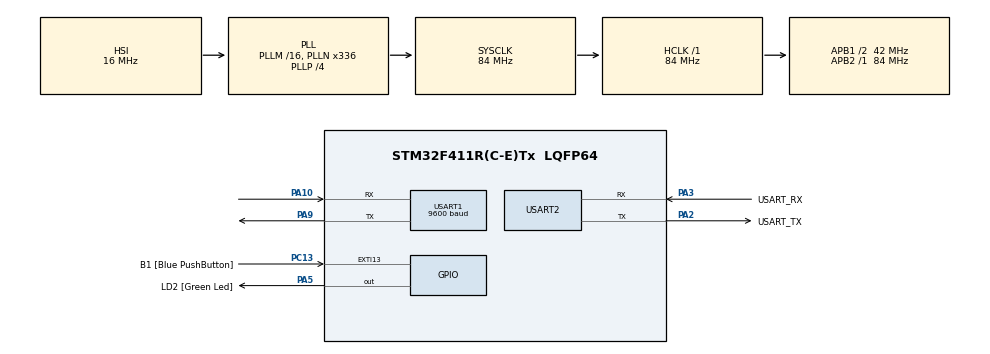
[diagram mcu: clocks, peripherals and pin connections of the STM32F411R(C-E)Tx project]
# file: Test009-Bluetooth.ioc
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Dma.Request0=USART1_RX
Dma.Request1=USART2_TX
Dma.USART1_RX.0.Direction=DMA_PERIPH_TO_MEMORY
Dma.USART1_RX.0.FIFOMode=DMA_FIFOMODE_DISABLE
Dma.USART1_RX.0.Instance=DMA2_Stream2
Dma.USART1_RX.0.MemDataAlignment=DMA_MDATAALIGN_BYTE
Dma.USART1_RX.0.MemInc=DMA_MINC_ENABLE
Dma.USART1_RX.0.Mode=DMA_CIRCULAR
Dma.USART1_RX.0.PeriphDataAlignment=DMA_PDATAALIGN_BYTE
Dma.USART1_RX.0.PeriphInc=DMA_PINC_DISABLE
Dma.USART1_RX.0.Priority=DMA_PRIORITY_LOW
Dma.USART2_TX.1.Direction=DMA_MEMORY_TO_PERIPH
Dma.USART2_TX.1.FIFOMode=DMA_FIFOMODE_DISABLE
Dma.USART2_TX.1.Instance=DMA1_Stream6
Dma.USART2_TX.1.MemDataAlignment=DMA_MDATAALIGN_BYTE
Dma.USART2_TX.1.MemInc=DMA_MINC_ENABLE
Dma.USART2_TX.1.Mode=DMA_CIRCULAR
Dma.USART2_TX.1.PeriphDataAlignment=DMA_PDATAALIGN_BYTE
Dma.USART2_TX.1.PeriphInc=DMA_PINC_DISABLE
Dma.USART2_TX.1.Priority=DMA_PRIORITY_LOW
Mcu.Family=STM32F4
Mcu.Name=STM32F411R(C-E)Tx
Mcu.Package=LQFP64
NVIC.DMA1_Stream6_IRQn=true\:0\:0\:false\:false\:true\:false\:true\:true
NVIC.DMA2_Stream2_IRQn=true\:0\:0\:false\:false\:true\:false\:true\:true
NVIC.PriorityGroup=NVIC_PRIORITYGROUP_0
NVIC.USART1_IRQn=true\:0\:0\:false\:false\:true\:true\:true\:true
NVIC.USART2_IRQn=true\:0\:0\:false\:false\:true\:true\:true\:true
PA10.Mode=Asynchronous
PA10.Signal=USART1_RX
PA13.GPIO_Label=TMS
PA13.Mode=Serial_Wire
PA13.Signal=SYS_JTMS-SWDIO
PA14.GPIO_Label=TCK
PA14.Mode=Serial_Wire
PA14.Signal=SYS_JTCK-SWCLK
PA2.GPIO_Label=USART_TX
PA2.Mode=Asynchronous
PA2.Signal=USART2_TX
PA3.GPIO_Label=USART_RX
PA3.Mode=Asynchronous
PA3.Signal=USART2_RX
PA5.GPIO_Label=LD2 [Green Led]
PA5.Signal=GPIO_Output
PA9.Mode=Asynchronous
PA9.Signal=USART1_TX
PB3.GPIO_Label=SWO
PB3.Signal=SYS_JTDO-SWO
PC13-ANTI_TAMP.GPIO_Label=B1 [Blue PushButton]
PC13-ANTI_TAMP.GPIO_ModeDefaultEXTI=GPIO_MODE_IT_FALLING
PC13-ANTI_TAMP.Signal=GPXTI13
PC14-OSC32_IN.Mode=LSE-External-Oscillator
PC14-OSC32_IN.Signal=RCC_OSC32_IN
PC15-OSC32_OUT.Mode=LSE-External-Oscillator
PC15-OSC32_OUT.Signal=RCC_OSC32_OUT
PH0\ -\ OSC_IN.Mode=HSE-External-Clock-Source
PH0\ -\ OSC_IN.Signal=RCC_OSC_IN
PH1\ -\ OSC_OUT.Mode=HSE-External-Clock-Source
PH1\ -\ OSC_OUT.Signal=RCC_OSC_OUT
ProjectManager.HeapSize=0x200
ProjectManager.StackSize=0x400
ProjectManager.TargetToolchain=STM32CubeIDE
RCC.48MHZClocksFreq_Value=84000000
RCC.AHBFreq_Value=84000000
RCC.APB1CLKDivider=RCC_HCLK_DIV2
RCC.APB1Freq_Value=42000000
RCC.APB1TimFreq_Value=84000000
RCC.APB2Freq_Value=84000000
RCC.APB2TimFreq_Value=84000000
RCC.CortexFreq_Value=84000000
RCC.FLatency-AdvancedSettings=FLASH_LATENCY_2
RCC.HCLKFreq_Value=84000000
RCC.HSE_VALUE=8000000
RCC.HSI_VALUE=16000000
RCC.PLLN=336
RCC.PLLP=RCC_PLLP_DIV4
RCC.SYSCLKFreq_VALUE=84000000
RCC.SYSCLKSource=RCC_SYSCLKSOURCE_PLLCLK
RCC.VCOOutputFreq_Value=336000000
USART1.BaudRate=9600
USART1.VirtualMode=VM_ASYNC
USART2.VirtualMode=VM_ASYNC
board=NUCLEO-F411RE

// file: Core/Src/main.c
/* USER CODE BEGIN Header */
/**
  ******************************************************************************
  * @file           : main.c
  * @brief          : Main program body
  ******************************************************************************
  * @attention
  *
  * Copyright (c) 2025 STMicroelectronics.
  * All rights reserved.
  *
  * This software is licensed under terms that can be found in the LICENSE file
  * in the root directory of this software component.
  * If no LICENSE file comes with this software, it is provided AS-IS.
  *
  ******************************************************************************
  */
/* USER CODE END Header */
#include "main.h"

UART_HandleTypeDef huart1;
UART_HandleTypeDef huart2;
DMA_HandleTypeDef hdma_usart1_rx;
DMA_HandleTypeDef hdma_usart2_tx;

void SystemClock_Config(void);
static void MX_GPIO_Init(void);
static void MX_DMA_Init(void);
static void MX_USART2_UART_Init(void);
static void MX_USART1_UART_Init(void);
/* USER CODE BEGIN PFP */
#define BUF_SIZE 100
/* USER CODE END PFP */

/* USER CODE BEGIN 0 */
unsigned char buf1[BUF_SIZE], buf2[BUF_SIZE]; // DMA buffer for UART1, UART2
unsigned char dum1, dum2;
int h1=0,h2=0,t1=0,t2=0;

void HAL_UART_RxCpltCallback(UART_HandleTypeDef *huart)
{
	if(huart == &huart1) // from BT
	{
		buf1[t1++] = dum1;
		HAL_UART_Transmit(&huart2, &dum1, 1, 10);
		if(dum1 =='\r')
		{
			CheckCMD(buf1);
			t1 = 0;
		}
		HAL_UART_Receive_IT(&huart1, &dum1, 1);
	}
	else if(huart == &huart2)
	{
		buf2[t2++] = dum2;
		HAL_UART_Transmit(&huart2, &dum2, 1, 10); //Terminal Echo
		if(dum2 == '\r') //
		{
			HAL_UART_Transmit(&huart2, "\n", 1, 10); //Terminal Echo
			buf2[t2++] = '\n';
			HAL_UART_Transmit(&huart1, buf2, t2, 10);
			t2 = 0;
		}
		HAL_UART_Receive_IT(&huart2, &dum2, 1);
	}

}

void TrimEX(char *dest, char *s) // s = "_____xxx______\t__\r\n" ===> "xxx"
{
	int h = 0;
	int	t = strlen(s) - 1;
	while(1)
	{
		if(*(s+t) == ' ' || *(s+h) == '\t' || *(s+h) == '\r'|| *(s+h) == '\n')
		{
			h++;
		}
		else
		{
			break;
		}
	}
	while(1)
	{
		if(*(s+t) == ' ' || *(s+t) == '\t' || *(s+t) == '\r'|| *(s+t) == '\n')
		{
			t--;
		}
		else
		{
			break;
		}
	}
	strncpy(dest,s+h,t-h+1);
}

char* Trim(char *s) // s = "_____xxx______\t__\r\n" ===> "xxx"
{
	int h = 0;
	int	t = strlen(s) - 1;
	while(1)
	{
		if(*(s+t) == ' ' || *(s+h) == '\t' || *(s+h) == '\r'|| *(s+h) == '\n')
		{
			h++;
		}
		else
		{
			break;
		}
	}
	while(1)
	{
		if(*(s+t) == ' ' || *(s+t) == '\t' || *(s+t) == '\r'|| *(s+t) == '\n')
		{
			t--;
		}
		else
		{
			break;
		}
	}
	char *dest = (char *)malloc(t-h+1)
	strncpy(dest,s+h,t-h+1);
	return dest;
}

void small2capital(char * str)
{
	int t=0;
	for (t=0; t <= strlen(str); t++)
	{
		if (str[t] >= 'a' && str[t] <= 'z')
		{
			str[t] = str[t]-32;
		}
	}
	str[++t] = '\0';
}

void capital2small(char * str)
{
	int t = 0;
	for (t=0; t <= strlen(str); t++)
	{
		if (str[t] >= 'A' && str[t] <= 'Z')
		{
			str[t] = str[t]+32;
		}
	}
	str[++t] = '\0';
}

void CheckCMD(char *bb)//str :"LED     1" ==> str = "LED 1"
{

	char *str = Trim(bb);
	small2capital(str);
	if(strncmp(str, "LED", 3) == 0)
	{
		if (str[4] == '1')
		{
			HAL_GPIO_WritePin(LD2_GPIO_Port, LD2_Pin, 1);
		}
		else if (str[4] == '0')
		{
			HAL_GPIO_WritePin(LD2_GPIO_Port, LD2_Pin, 0);
		}

	}
}

/* USER CODE END 0 */

int main(void)
{

  /* MCU Configuration--------------------------------------------------------*/

  /* Reset of all peripherals, Initializes the Flash interface and the Systick. */
  HAL_Init();

  /* Configure the system clock */
  SystemClock_Config();

  /* Initialize all configured peripherals */
  MX_GPIO_Init();
  MX_DMA_Init();
  MX_USART2_UART_Init();
  MX_USART1_UART_Init();
  /* USER CODE BEGIN 2 */
  ProgramStart("Bluetooth ");
  HAL_UART_Receive_IT(&huart1, &dum1, 1);
  HAL_UART_Receive_IT(&huart2, &dum2, 1);
  //HAL_UART_Receive_IT();

  /* USER CODE END 2 */

  /* Infinite loop */
  /* USER CODE BEGIN WHILE */
  //char dd[];
  while (1)
  {

    /* USER CODE END WHILE */

  }
}

void SystemClock_Config(void)
{
  RCC_OscInitTypeDef RCC_OscInitStruct = {0};
  RCC_ClkInitTypeDef RCC_ClkInitStruct = {0};

  /** Configure the main internal regulator output voltage
  */
  __HAL_RCC_PWR_CLK_ENABLE();
  __HAL_PWR_VOLTAGESCALING_CONFIG(PWR_REGULATOR_VOLTAGE_SCALE1);

  /** Initializes the RCC Oscillators according to the specified parameters
  * in the RCC_OscInitTypeDef structure.
  */
  RCC_OscInitStruct.OscillatorType = RCC_OSCILLATORTYPE_HSI;
  RCC_OscInitStruct.HSIState = RCC_HSI_ON;
  RCC_OscInitStruct.HSICalibrationValue = RCC_HSICALIBRATION_DEFAULT;
  RCC_OscInitStruct.PLL.PLLState = RCC_PLL_ON;
  RCC_OscInitStruct.PLL.PLLSource = RCC_PLLSOURCE_HSI;
  RCC_OscInitStruct.PLL.PLLM = 16;
  RCC_OscInitStruct.PLL.PLLN = 336;
  RCC_OscInitStruct.PLL.PLLP = RCC_PLLP_DIV4;
  RCC_OscInitStruct.PLL.PLLQ = 4;
  if (HAL_RCC_OscConfig(&RCC_OscInitStruct) != HAL_OK)
  {
    Error_Handler();
  }

  /** Initializes the CPU, AHB and APB buses clocks
  */
  RCC_ClkInitStruct.ClockType = RCC_CLOCKTYPE_HCLK|RCC_CLOCKTYPE_SYSCLK
                              |RCC_CLOCKTYPE_PCLK1|RCC_CLOCKTYPE_PCLK2;
  RCC_ClkInitStruct.SYSCLKSource = RCC_SYSCLKSOURCE_PLLCLK;
  RCC_ClkInitStruct.AHBCLKDivider = RCC_SYSCLK_DIV1;
  RCC_ClkInitStruct.APB1CLKDivider = RCC_HCLK_DIV2;
  RCC_ClkInitStruct.APB2CLKDivider = RCC_HCLK_DIV1;

  if (HAL_RCC_ClockConfig(&RCC_ClkInitStruct, FLASH_LATENCY_2) != HAL_OK)
  {
    Error_Handler();
  }
}

static void MX_USART1_UART_Init(void)
{

  huart1.Instance = USART1;
  huart1.Init.BaudRate = 9600;
  huart1.Init.WordLength = UART_WORDLENGTH_8B;
  huart1.Init.StopBits = UART_STOPBITS_1;
  huart1.Init.Parity = UART_PARITY_NONE;
  huart1.Init.Mode = UART_MODE_TX_RX;
  huart1.Init.HwFlowCtl = UART_HWCONTROL_NONE;
  huart1.Init.OverSampling = UART_OVERSAMPLING_16;
  if (HAL_UART_Init(&huart1) != HAL_OK)
  {
    Error_Handler();
  }

}

static void MX_USART2_UART_Init(void)
{

  huart2.Instance = USART2;
  huart2.Init.BaudRate = 115200;
  huart2.Init.WordLength = UART_WORDLENGTH_8B;
  huart2.Init.StopBits = UART_STOPBITS_1;
  huart2.Init.Parity = UART_PARITY_NONE;
  huart2.Init.Mode = UART_MODE_TX_RX;
  huart2.Init.HwFlowCtl = UART_HWCONTROL_NONE;
  huart2.Init.OverSampling = UART_OVERSAMPLING_16;
  if (HAL_UART_Init(&huart2) != HAL_OK)
  {
    Error_Handler();
  }

}

static void MX_DMA_Init(void)
{

  /* DMA controller clock enable */
  __HAL_RCC_DMA2_CLK_ENABLE();
  __HAL_RCC_DMA1_CLK_ENABLE();

  /* DMA interrupt init */
  /* DMA1_Stream6_IRQn interrupt configuration */
  HAL_NVIC_SetPriority(DMA1_Stream6_IRQn, 0, 0);
  HAL_NVIC_EnableIRQ(DMA1_Stream6_IRQn);
  /* DMA2_Stream2_IRQn interrupt configuration */
  HAL_NVIC_SetPriority(DMA2_Stream2_IRQn, 0, 0);
  HAL_NVIC_EnableIRQ(DMA2_Stream2_IRQn);

}

static void MX_GPIO_Init(void)
{
  GPIO_InitTypeDef GPIO_InitStruct = {0};

  /* GPIO Ports Clock Enable */
  __HAL_RCC_GPIOC_CLK_ENABLE();
  __HAL_RCC_GPIOH_CLK_ENABLE();
  __HAL_RCC_GPIOA_CLK_ENABLE();
  __HAL_RCC_GPIOB_CLK_ENABLE();

  /*Configure GPIO pin Output Level */
  HAL_GPIO_WritePin(LD2_GPIO_Port, LD2_Pin, GPIO_PIN_RESET);

  /*Configure GPIO pin : B1_Pin */
  GPIO_InitStruct.Pin = B1_Pin;
  GPIO_InitStruct.Mode = GPIO_MODE_IT_FALLING;
  GPIO_InitStruct.Pull = GPIO_NOPULL;
  HAL_GPIO_Init(B1_GPIO_Port, &GPIO_InitStruct);

  /*Configure GPIO pin : LD2_Pin */
  GPIO_InitStruct.Pin = LD2_Pin;
  GPIO_InitStruct.Mode = GPIO_MODE_OUTPUT_PP;
  GPIO_InitStruct.Pull = GPIO_NOPULL;
  GPIO_InitStruct.Speed = GPIO_SPEED_FREQ_LOW;
  HAL_GPIO_Init(LD2_GPIO_Port, &GPIO_InitStruct);

}

void Error_Handler(void)
{
  __disable_irq();
  while (1)
  {
  }
}
